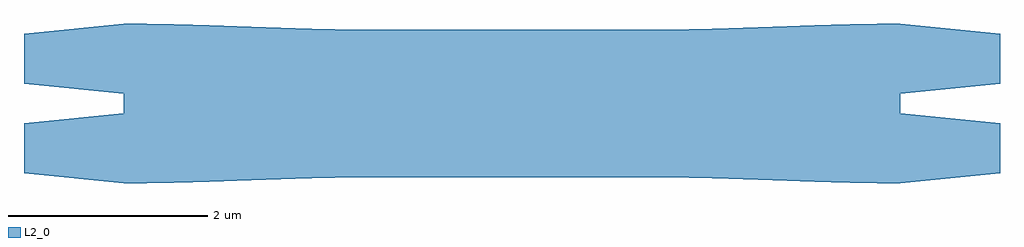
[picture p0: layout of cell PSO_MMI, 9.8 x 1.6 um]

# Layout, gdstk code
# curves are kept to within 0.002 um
import gdstk
lib = gdstk.Library(unit=1e-6, precision=1e-09)
def R(c, l, rs):  # rectangles x0, y0, x1, y1
    for r in rs: c.add(gdstk.rectangle(r[:2], r[2:], *l))
def P(c, l, *ps):  # polygons
    for p in ps: c.add(gdstk.Polygon(p, *l))
L2_0 = (2, 0)

pso_mmi = lib.new_cell('PSO_MMI')
R(pso_mmi, L2_0, [(-1.4,-0.74,1.4,0.74)])
P(pso_mmi, L2_0, [(-3.9,0.1),(-4.9,0.2),(-4.9,0.7),(-3.9,0.8)],
  [(-3.9,-0.8),(-4.9,-0.7),(-4.9,-0.2),(-3.9,-0.1)],
  [(3.9,0.1),(3.9,0.8),(4.9,0.7),(4.9,0.2)],
  [(3.9,-0.8),(3.9,-0.1),(4.9,-0.2),(4.9,-0.7)],
  [(-3.9,-0.8),(-3.9,0.8),(-3.669,0.799),(-3.312,0.792),(-1.988,0.748),(-1.631,0.741),(-1.4,0.74),(-1.4,-0.74),(-1.631,-0.741),(-1.988,-0.748),(-3.312,-0.792),(-3.669,-0.799)],
  [(3.774,-0.8),(3.102,-0.786),(1.988,-0.748),(1.631,-0.741),(1.4,-0.74),(1.4,0.74),(1.631,0.741),(1.988,0.748),(3.312,0.792),(3.669,0.799),(3.9,0.8),(3.9,-0.8)])

lib.write_gds('PSO_MMI.gds')
